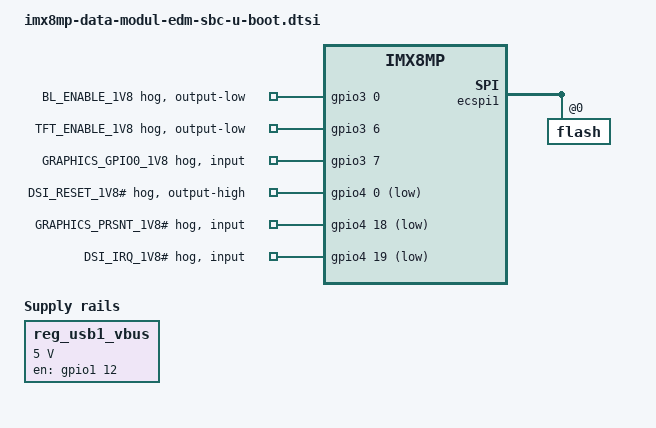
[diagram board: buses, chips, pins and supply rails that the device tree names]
// SPDX-License-Identifier: GPL-2.0+
/*
 * Copyright 2022 Marek Vasut <marex@denx.de>
 */

#include "imx8mp-u-boot.dtsi"
#include "imx8mp-pinfunc.h"

/ {
	aliases {
		eeprom0 = &eeprom;
		mmc0 = &usdhc3;	/* eMMC */
		mmc1 = &usdhc2;	/* MicroSD */
		spi0 = &ecspi1;
	};

	config {
		dmo,ram-coding-gpios = <&gpio3 20 0>, <&gpio4 3 0>, <&gpio4 1 0>;
	};

	reg_usb1_vbus: regulator-usb1-vbus {
		compatible = "regulator-fixed";
		enable-active-high;
		gpio = <&gpio1 12 GPIO_ACTIVE_HIGH>;
		pinctrl-names = "default";
		pinctrl-0 = <&pinctrl_usb1_vbus>;
		regulator-max-microvolt = <5000000>;
		regulator-min-microvolt = <5000000>;
		regulator-name = "USB1_PWR";
	};

	wdt-reboot {
		compatible = "wdt-reboot";
		wdt = <&wdog1>;
		bootph-pre-ram;
	};
};

&buck4 {
	bootph-pre-ram;
};

&buck5 {
	bootph-pre-ram;
};

&ecspi1 {
	/delete-property/ assigned-clocks;
	/delete-property/ assigned-clock-rates;
	/delete-property/ assigned-clock-parents;
	bootph-pre-ram;
	flash@0 {
		bootph-pre-ram;
	};
};

&gpio1 {
	bootph-pre-ram;
};

&gpio2 {
	bootph-pre-ram;
};

&gpio3 {
	bootph-pre-ram;

	bl-enable-hog {
		bootph-pre-ram;
		gpio-hog;
		output-low;
		gpios = <0 GPIO_ACTIVE_HIGH>;
		line-name = "BL_ENABLE_1V8";
	};

	tft-enable-hog {
		bootph-pre-ram;
		gpio-hog;
		output-low;
		gpios = <6 GPIO_ACTIVE_HIGH>;
		line-name = "TFT_ENABLE_1V8";
	};

	graphics-gpio0-hog {
		bootph-pre-ram;
		gpio-hog;
		input;
		gpios = <7 GPIO_ACTIVE_HIGH>;
		line-name = "GRAPHICS_GPIO0_1V8";
	};
};

&gpio4 {
	bootph-pre-ram;

	dsi-reset-hog {
		bootph-pre-ram;
		gpio-hog;
		output-high;
		gpios = <0 GPIO_ACTIVE_LOW>;
		line-name = "DSI_RESET_1V8#";
	};

	graphics-prsnt-hog {
		bootph-pre-ram;
		gpio-hog;
		input;
		gpios = <18 GPIO_ACTIVE_LOW>;
		line-name = "GRAPHICS_PRSNT_1V8#";
	};

	dsi-irq-hog {
		bootph-pre-ram;
		gpio-hog;
		input;
		gpios = <19 GPIO_ACTIVE_LOW>;
		line-name = "DSI_IRQ_1V8#";
	};
};

&gpio5 {
	bootph-pre-ram;
};

&i2c3 {
	bootph-pre-ram;
};

&pinctrl_ecspi1 {
	bootph-pre-ram;
};

&pinctrl_hog_sbc {
	bootph-pre-ram;
};

&pinctrl_i2c3 {
	bootph-pre-ram;
};

&pinctrl_i2c3_gpio {
	bootph-pre-ram;
};

&pinctrl_pmic {
	bootph-pre-ram;
};

&pinctrl_uart3 {
	bootph-pre-ram;
};

&pinctrl_usdhc2 {
	bootph-pre-ram;
};

&pinctrl_usdhc3 {
	bootph-pre-ram;
};

&pmic {
	bootph-pre-ram;

	regulators {
		bootph-pre-ram;
	};
};

&uart3 {
	bootph-pre-ram;
};

&usb3_phy0 {
	vbus-supply = <&reg_usb1_vbus>;
};

&usdhc2 {
	bootph-pre-ram;
	sd-uhs-sdr104;
	sd-uhs-ddr50;
};

&usdhc3 {
	bootph-pre-ram;
	mmc-hs400-1_8v;
	mmc-hs400-enhanced-strobe;
};

&wdog1 {
	bootph-pre-ram;
};

&iomuxc {
	usb1-grp {
		fsl,pins = <
			MX8MP_IOMUXC_GPIO1_IO13__USB1_OTG_OC		0x80
		>;
	};

	pinctrl_usb1_vbus: usb1-vbus-grp {
		fsl,pins = <
			MX8MP_IOMUXC_GPIO1_IO12__GPIO1_IO12		0x6
		>;
	};
};
